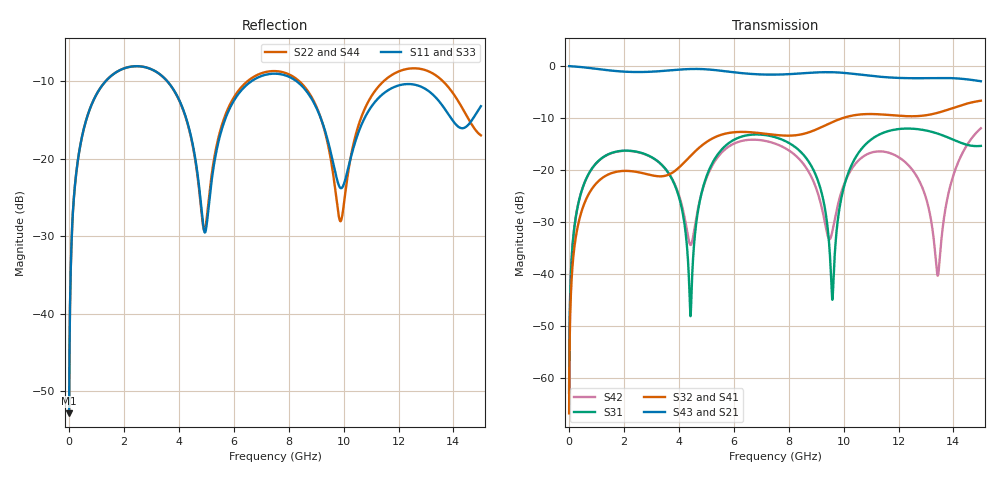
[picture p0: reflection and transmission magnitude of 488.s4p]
! Created with skrf 1.8.0 (http://scikit-rf.org).
# GHz S RI R 50.0
!freq ReS11 ImS11 ReS12 ImS12 ReS13 ImS13
! ReS14 ImS14
! ReS21 ImS21 ReS22 ImS22 ReS23 ImS23
! ReS24 ImS24
! ReS31 ImS31 ReS32 ImS32 ReS33 ImS33
! ReS34 ImS34
! ReS41 ImS41 ReS42 ImS42 ReS43 ImS43
! ReS44 ImS44
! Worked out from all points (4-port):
!   2499 points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, 5 MHz to 15 GHz, reference 50 ohm
!   strongest paths, dB at 5 MHz, 3.476 GHz, 7.19 GHz, 11.1 GHz, 15 GHz:
!     S43: 0.0, -0.9, -1.6, -1.9, -2.9
!     S21: 0.0, -0.9, -1.6, -1.9, -2.9
!     S32: -66.8, -21.1, -13.0, -9.2, -6.7
!     S41: -66.8, -21.2, -13.1, -9.3, -6.6
!     S31: -62.8, -19.5, -13.3, -13.8, -15.3
!     S42: -62.8, -19.5, -14.4, -16.5, -11.9
!   lowest |S11| = -52.8 dB at 5 MHz (marker M1), VSWR 1.00, Z = 50.2 + j0.138 ohm
!   |S11| at or under -10 dB: start of sweep to 1.343 GHz; 3.572 GHz to 6.657 GHz (3.085 GHz wide, 60.3 % of centre); 8.274 GHz to end of sweep
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0.005  0.00181 0.00138  0.9982 -0.00353  9.17e-05 0.000718  -8.9e-05 -0.000451
       0.9982 -0.00353  0.00181 0.00138  -8.9e-05 -0.000451  9.16e-05 0.000718
       9.17e-05 0.000718  -8.9e-05 -0.000451  0.00181 0.00138  0.9982 -0.00353
       -8.9e-05 -0.000451  9.16e-05 0.000718  0.9982 -0.00353  0.00181 0.00138
1.77574  0.3401 0.1325  0.3693 -0.8129  0.1482 0.0314  -0.094 0.0231
         0.3693 -0.8129  0.3406 0.132  -0.0941 0.0233  0.1472 0.0336
         0.1482 0.0314  -0.0941 0.0233  0.3401 0.1326  0.3693 -0.8129
         -0.094 0.0231  0.1472 0.0336  0.3693 -0.8129  0.3407 0.132
4.426845  0.0726 -0.1234  -0.8584 -0.3766  -0.00391 -0.000475  -0.0518 0.1268
          -0.8584 -0.3766  0.072 -0.1213  -0.0506 0.1273  -0.0182 -0.00575
          -0.00391 -0.000475  -0.0506 0.1273  0.0728 -0.1241  -0.8582 -0.3766
          -0.0518 0.1268  -0.0182 -0.00575  -0.8582 -0.3766  0.0725 -0.1219
5.864944  0.154 0.1463  -0.7573 0.4492  0.1548 0.1022  0.1518 0.1704
          -0.7573 0.4492  0.1649 0.1509  0.1537 0.1695  0.1199 0.1226
          0.1548 0.1022  0.1537 0.1695  0.1524 0.1457  -0.7575 0.4494
          0.1518 0.1704  0.1199 0.1226  -0.7575 0.4494  0.1654 0.1499
9.985411  0.0657 0.0115  0.8569 0.089  0.0333 0.0555  0.0242 -0.3164
          0.8569 0.089  0.0418 0.0216  0.018 -0.317  -0.0049 0.0692
          0.0333 0.0555  0.018 -0.317  0.0656 0.0145  0.857 0.0865
          0.0242 -0.3164  -0.0049 0.0692  0.857 0.0865  0.0412 0.0251
13.4306  0.2332 -0.054  -0.3041 -0.7079  -0.0646 -0.2147  -0.325 0.1434
         -0.3041 -0.7079  0.3062 -0.1399  -0.3208 0.1539  0.00669 0.00698
         -0.0646 -0.2147  -0.3208 0.1539  0.2392 -0.0488  -0.3054 -0.7057
         -0.325 0.1434  0.00669 0.00698  -0.3054 -0.7057  0.3076 -0.1457
15  0.2001 0.0854  -0.7067 -0.114  -0.1014 0.1377  -0.0725 0.4597
    -0.7067 -0.114  0.1308 -0.0532  -0.0601 0.4608  0.082 0.239
    -0.1014 0.1377  -0.0601 0.4608  0.2053 0.0833  -0.7068 -0.1106
    -0.0725 0.4597  0.082 0.239  -0.7068 -0.1106  0.1301 -0.0501
